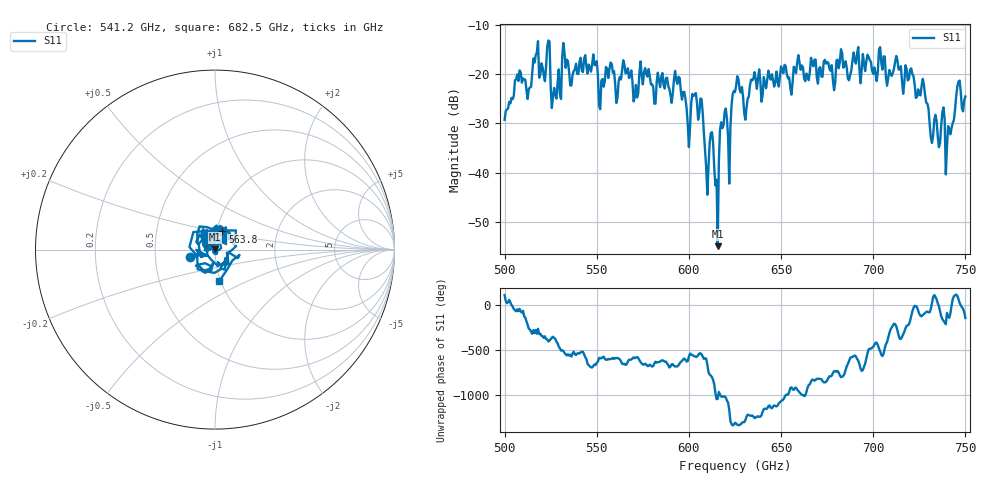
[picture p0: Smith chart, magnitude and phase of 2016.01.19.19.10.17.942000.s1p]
!Created with skrf (http://scikit-rf.org).
# GHz S RI R 50.0
!freq ReS11 ImS11
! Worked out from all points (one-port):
!   401 points, 500 GHz to 750 GHz, reference 50 ohm
!   lowest |S11| = -54.9 dB at 615.6 GHz (marker M1), VSWR 1.00, Z = 50.1 + j0.105 ohm
!   |S11| at or under -10 dB: start of sweep to end of sweep
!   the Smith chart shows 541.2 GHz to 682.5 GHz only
!   S11 on the Smith chart (normalised r, x): 541.2 GHz: 0.75, -0.06; 563.8 GHz: 1.06, +0.22; 682.5 GHz: 0.98, -0.36
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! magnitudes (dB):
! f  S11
! 500 GHz  -29.3
! 507.5 GHz  -21.4
! 513.1 GHz  -23.0
! 516.9 GHz  -16.2
! 523.8 GHz  -13.2
! 526.9 GHz  -22.8
! 531.2 GHz  -16.5
! 541.2 GHz  -16.7
! 562.5 GHz  -20.6
! 563.8 GHz  -19.3
! 571.2 GHz  -22.2
! 593.8 GHz  -22.0
! 599.4 GHz  -30.3
! 606.9 GHz  -25.1
! 609.4 GHz  -39.0
! 612.5 GHz  -31.8
! 615.6 GHz  -54.9
! 618.1 GHz  -31.0
! 621.9 GHz  -42.2
! 625 GHz  -23.7
! 631.2 GHz  -26.8
! 656.2 GHz  -21.7
! 682.5 GHz  -15.0
! 687.5 GHz  -20.2
! 718.8 GHz  -21.3
! 740.6 GHz  -30.6
! 746.2 GHz  -21.5
! 750 GHz  -24.6
